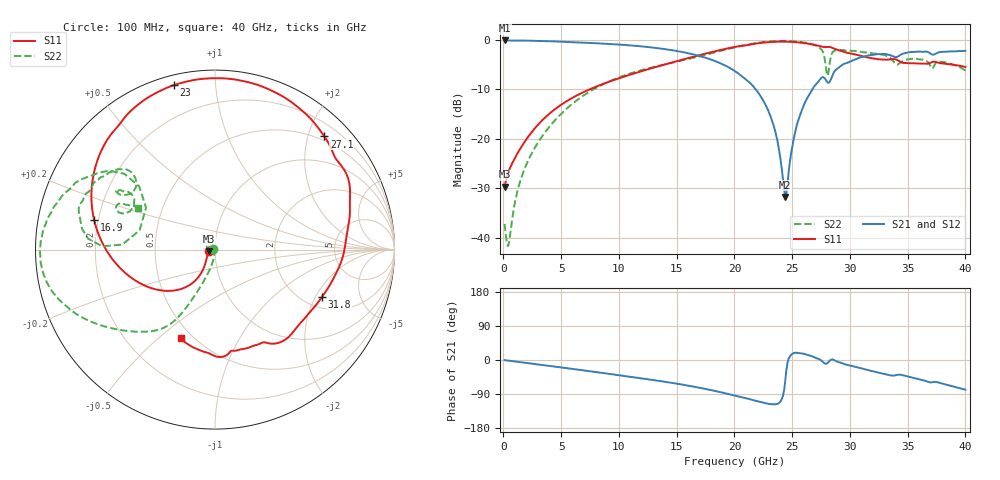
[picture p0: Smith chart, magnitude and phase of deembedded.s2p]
! BV_vna_rf_hblb1: kisi-fdtd, 2-port, de-embedded with the 2×thru of each side (NZC with the outer ports
! referred to the line impedances 53.3 / 51.5 Ω, sparam.deembed_matched), the via between ideal 50 Ω lines
# Hz S RI R 50
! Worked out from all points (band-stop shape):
!   400 points, 100 MHz to 40 GHz, reference 50 ohm
!   highest |S21| = -0.16 dB at 100 MHz (marker M1); lowest = -31.8 dB at 24.4 GHz (marker M2)
!   |S21| within 3 dB of the highest: start of sweep to 16.76 GHz; 34.32 GHz to end of sweep (the widest 2 of 3)
!   lowest |S11| = -29.7 dB at 100 MHz (marker M3), VSWR 1.07, Z = 46.9 - j0.866 ohm
!   |S11| at or under -10 dB: start of sweep to 7.502 GHz
!   |S22| runs from -41.7 to -0.2 dB; largest |S21 - S12| = 0.0075
!   S11 on the Smith chart (normalised r, x): 100 MHz: 0.94, -0.02; 16.9 GHz: 0.18, +0.12; 23 GHz: 0.05, +0.78; 27.1 GHz: 0.42, +2.29; 31.8 GHz: 2.47, -2.27; 40 GHz: 0.43, -0.60
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1e8  -0.0315 -0.00921  0.9814 -0.00674  0.9813 -0.00679  -0.0135 0.00259
4e8  -0.0383 -0.0231  0.9807 -0.0264  0.9809 -0.0263  -0.00723 -0.00392
1.2e9  -0.0474 -0.0525  0.9765 -0.0791  0.9764 -0.0793  -0.00439 -0.0289
2.3e9  -0.0594 -0.0934  0.9637 -0.1515  0.9637 -0.1512  -0.0118 -0.0649
6.8e9  -0.1897 -0.2196  0.8342 -0.4219  0.8343 -0.422  -0.1053 -0.2445
1.34e10  -0.5277 -0.1037  0.4725 -0.6697  0.4723 -0.6697  -0.3109 -0.4452
1.69e10  -0.6739 0.1666  0.2043 -0.6568  0.2042 -0.6568  -0.5019 -0.4517
2.01e10  -0.621 0.5759  -0.0368 -0.4752  -0.0367 -0.4752  -0.7538 -0.3703
2.3e10  -0.2302 0.9158  -0.0805 -0.1651  -0.0801 -0.1653  -0.948 -0.1546
2.38e10  -0.0593 0.9523  -0.0359 -0.0773  -0.0355 -0.0776  -0.9717 -0.0665
2.44e10  0.0776 0.9519  0.0146 -0.0212  0.0154 -0.0214  -0.9739 0.00547
2.53e10  0.2836 0.9  0.1159 0.0405  0.116 0.0396  -0.9539 0.1181
2.67e10  0.5545 0.7046  0.3045 0.0546  0.3048 0.0531  -0.8526 0.2989
2.71e10  0.6096 0.6305  0.3564 0.0297  0.3578 0.0329  -0.7955 0.3536
2.77e10  0.6674 0.516  0.4156 -0.0459  0.4175 -0.0397  -0.5898 0.4399
2.8e10  0.7032 0.4683  0.373 -0.0618  0.3709 -0.0689  -0.3841 0.2332
2.82e10  0.7318 0.4225  0.368 -0.0221  0.3628 -0.0168  -0.5173 0.0277
2.86e10  0.7525 0.3129  0.4652 0.00231  0.4635 -0.00402  -0.7485 0.1538
3.18e10  0.5963 -0.2635  0.6134 -0.3321  0.6143 -0.3308  -0.5971 0.4246
3.34e10  0.4463 -0.4451  0.5375 -0.452  0.5388 -0.4527  -0.4954 0.4471
3.73e10  0.0294 -0.5988  0.3774 -0.6003  0.3796 -0.5961  -0.5068 0.2
4e10  -0.1896 -0.4937  0.1558 -0.7563  0.1544 -0.7556  -0.4279 0.2341
